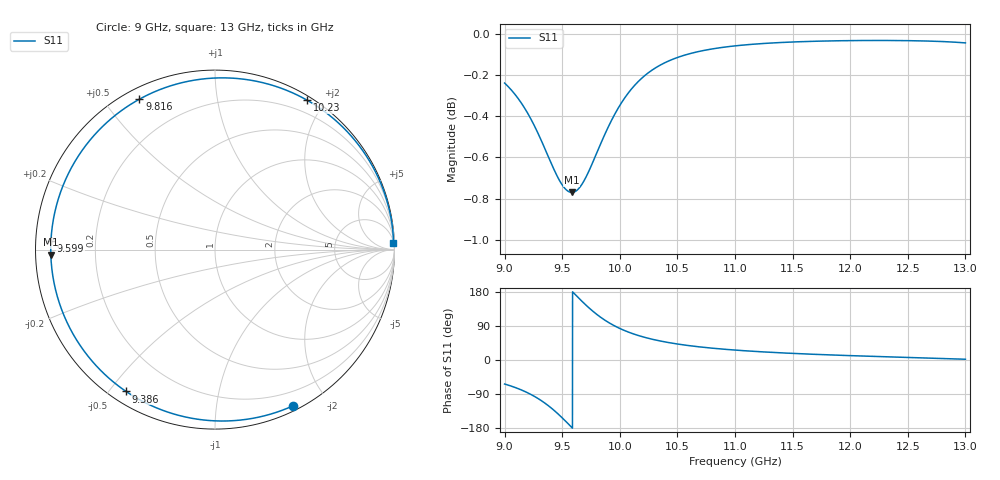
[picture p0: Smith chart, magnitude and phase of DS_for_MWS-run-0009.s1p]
! TOUCHSTONE file generated by CST DESIGN STUDIO
! Date and time: Tue Feb  4 14:31:37 2025
! Project name: C:\Work\MatlabApps\UnitCellOptimizationMatlab\CST\unitcell.cst
! Tree item: Tasks\Sweep1\SPara1\S-Parameters
! Header version: 2024
! Port assignment regex: !\s*Touchstone port\s*([0-9]+)\s*=\s*(CST MWS port|CST DES external port|CST DES block port)\s*(.+)\s* \(\"(.*)\"\)(\s*mode\s*([0-9]+))?.*
! Touchstone port assignment:
! Touchstone port 1 = CST DES external port 1 ("")
# GHz S MA R 50
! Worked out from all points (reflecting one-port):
!   4001 points, 9 GHz to 13 GHz, reference 50 ohm
!   lowest |S11| = -0.8 dB at 9.584 GHz (marker M1), VSWR 22.57, Z = 2.22 - j0.773 ohm
!   phase of S11 starts at -63 deg and turns -295 deg over the sweep
!   S11 on the Smith chart (normalised r, x): 9 GHz: 0.05, -1.62; 9.386 GHz: 0.05, -0.55; 9.599 GHz: 0.04, +0.03; 9.816 GHz: 0.04, +0.62; 10.23 GHz: 0.05, +1.79; 13 GHz: 8, +56
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9  0.973 -63.4
9.048  0.9699 -67.9
9.117  0.9646 -75.5
9.235  0.9528 -92.0
9.315  0.9426 -106.5
9.386  0.9328 -122.1
9.442  0.9253 -136.3
9.5  0.919 -152.6
9.543  0.9161 -165.5
9.584  0.9152 -178.2
9.599  0.9153 177.1
9.654  0.9179 160.2
9.715  0.9241 142.4
9.765  0.9307 129.0
9.816  0.9379 116.7
9.857  0.9437 107.8
9.9  0.9494 99.4
10  0.9608 83.2
10.111  0.9704 69.6
10.233  0.9778 58.4
10.357  0.983 49.8
10.5  0.987 42.2
10.72  0.9907 33.7
11  0.9934 26.2
11.5  0.9956 17.4
12  0.9963 11.5
12.5  0.9963 6.8
13  0.9951 2.0
